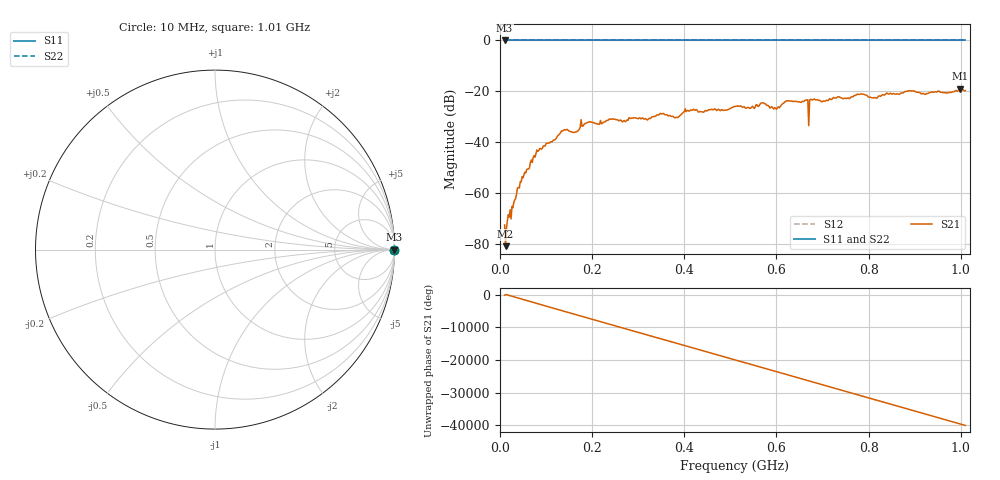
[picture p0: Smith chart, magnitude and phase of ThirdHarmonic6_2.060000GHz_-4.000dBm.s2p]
! 8/17/2025 12:41:03 AM
! C:\ANRITSUVNA\TEMP\TEMP.S2P
! CHANNEL.1
! TR.MEASUREMENT
! RAW.DATA
! RF.CORRECTION.OFF
! AVERAGING.OFF
! IF.BANDWIDTH: 5KHZ
! SWEEPTYPE:  FREQ.SWEEP(Linear)
! Reference Plane Port Info
! PORT:  PORT1  PORT2
! DISTANCE:  0  m  0  m
! TIME:  0  s  0  s
! PHASE.OFFSET:  0  deg.  0  deg.
! LOSS:  0  dB  0  dB
! REF.LOSS:  0  dB  0  dB
! REF.FREQ:  0  Hz  0  Hz
! Power Info
! POWER:  -20  dBm  -20  dBm
! EFF.POWER:  -20  dBm  -20  dBm
! SOURCE.ATTEN:  0  dB  0  dB
! TEST.ATTEN:  0  dB  0  dB
# GHZ S RI R 50.0
! FREQ.GHZ  S11RE  S11IM  S21RE  S21IM  S12RE  S12IM  S22RE  S22IM
!; PortSelection: Port_12
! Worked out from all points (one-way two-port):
!   501 points, 10 MHz to 1.01 GHz, reference 50 ohm
!   highest |S21| = -18.98 dB at 998 MHz (marker M1); lowest = -80.7 dB at 12 MHz (marker M2)
!   lowest |S11| = 0.0 dB at 10 MHz (marker M3)
!   |S11| at or under -10 dB: nowhere
!   |S22| runs from 0.0 to 0.0 dB; largest |S21 - S12| = 1.1
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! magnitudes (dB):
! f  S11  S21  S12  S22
! 10 MHz  0.0  -72.4  0.0  0.0
! 12 MHz  0.0  -80.7  0.0  0.0
! 48 MHz  0.0  -53.5  0.0  0.0
! 82 MHz  0.0  -43.5  0.0  0.0
! 136 MHz  0.0  -35.5  0.0  0.0
! 164 MHz  0.0  -36.0  0.0  0.0
! 178 MHz  0.0  -33.6  0.0  0.0
! 322 MHz  0.0  -30.8  0.0  0.0
! 344 MHz  0.0  -29.3  0.0  0.0
! 382 MHz  0.0  -30.2  0.0  0.0
! 404 MHz  0.0  -27.9  0.0  0.0
! 510 MHz  0.0  -25.9  0.0  0.0
! 570 MHz  0.0  -24.5  0.0  0.0
! 598 MHz  0.0  -26.5  0.0  0.0
! 624 MHz  0.0  -23.7  0.0  0.0
! 664 MHz  0.0  -23.4  0.0  0.0
! 666 MHz  0.0  -23.4  0.0  0.0
! 674 MHz  0.0  -23.1  0.0  0.0
! 678 MHz  0.0  -23.4  0.0  0.0
! 844 MHz  0.0  -21.1  0.0  0.0
! 998 MHz  0.0  -19.0  0.0  0.0
! 1.01 GHz  0.0  -19.7  0.0  0.0
